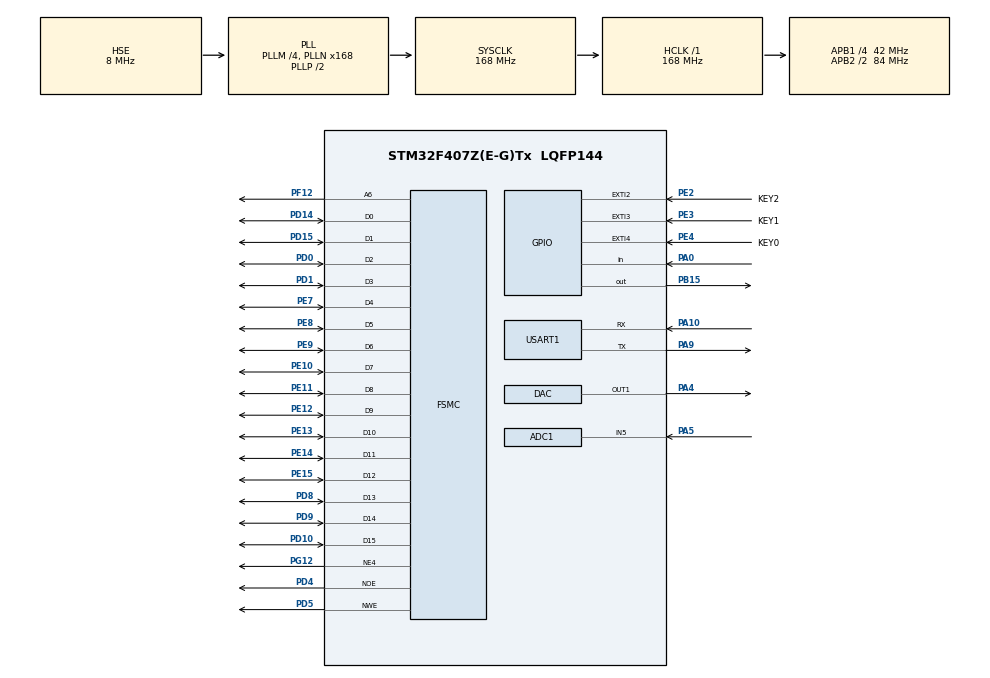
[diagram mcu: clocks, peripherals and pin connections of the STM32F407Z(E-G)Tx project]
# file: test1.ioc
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ADC1.Channel-0\#ChannelRegularConversion=ADC_CHANNEL_5
ADC1.DMAContinuousRequests=ENABLE
ADC1.ExternalTrigConv=ADC_EXTERNALTRIGCONV_T3_TRGO
ADC1.NbrOfConversionFlag=1
ADC1.Rank-0\#ChannelRegularConversion=1
ADC1.SamplingTime-0\#ChannelRegularConversion=ADC_SAMPLETIME_3CYCLES
ADC1.ScanConvMode=ENABLE
ADC1.master=1
DAC.DAC_Trigger=DAC_TRIGGER_T6_TRGO
Dma.ADC1.0.Direction=DMA_PERIPH_TO_MEMORY
Dma.ADC1.0.FIFOMode=DMA_FIFOMODE_DISABLE
Dma.ADC1.0.Instance=DMA2_Stream0
Dma.ADC1.0.MemDataAlignment=DMA_MDATAALIGN_HALFWORD
Dma.ADC1.0.MemInc=DMA_MINC_ENABLE
Dma.ADC1.0.Mode=DMA_CIRCULAR
Dma.ADC1.0.PeriphDataAlignment=DMA_PDATAALIGN_HALFWORD
Dma.ADC1.0.PeriphInc=DMA_PINC_DISABLE
Dma.ADC1.0.Priority=DMA_PRIORITY_LOW
Dma.DAC1.1.Direction=DMA_MEMORY_TO_PERIPH
Dma.DAC1.1.FIFOMode=DMA_FIFOMODE_DISABLE
Dma.DAC1.1.Instance=DMA1_Stream5
Dma.DAC1.1.MemDataAlignment=DMA_MDATAALIGN_HALFWORD
Dma.DAC1.1.MemInc=DMA_MINC_ENABLE
Dma.DAC1.1.Mode=DMA_CIRCULAR
Dma.DAC1.1.PeriphDataAlignment=DMA_PDATAALIGN_HALFWORD
Dma.DAC1.1.PeriphInc=DMA_PINC_DISABLE
Dma.DAC1.1.Priority=DMA_PRIORITY_LOW
Dma.Request0=ADC1
Dma.Request1=DAC1
FSMC.ExtendedAddressSetupTime1=9
FSMC.ExtendedDataSetupTime1=8
FSMC.ExtendedMode1=FSMC_EXTENDED_MODE_ENABLE
Mcu.Family=STM32F4
Mcu.Name=STM32F407Z(E-G)Tx
Mcu.Package=LQFP144
NVIC.DMA1_Stream5_IRQn=true\:0\:0\:false\:false\:true\:false\:true\:true
NVIC.DMA2_Stream0_IRQn=true\:0\:0\:false\:false\:true\:false\:true\:true
NVIC.EXTI2_IRQn=true\:0\:0\:false\:false\:true\:true\:true\:true
NVIC.EXTI3_IRQn=true\:0\:0\:false\:false\:true\:true\:true\:true
NVIC.EXTI4_IRQn=true\:0\:0\:false\:false\:true\:true\:true\:true
NVIC.PriorityGroup=NVIC_PRIORITYGROUP_4
NVIC.TIM6_DAC_IRQn=true\:0\:0\:false\:false\:true\:true\:true\:true
PA0-WKUP.GPIO_PuPd=GPIO_PULLDOWN
PA0-WKUP.Signal=GPIO_Input
PA10.Mode=Asynchronous
PA10.Signal=USART1_RX
PA13.Mode=Serial_Wire
PA13.Signal=SYS_JTMS-SWDIO
PA14.Mode=Serial_Wire
PA14.Signal=SYS_JTCK-SWCLK
PA4.Signal=COMP_DAC1_group
PA5.Signal=ADCx_IN5
PA9.Mode=Asynchronous
PA9.Signal=USART1_TX
PB15.Signal=GPIO_Output
PC14-OSC32_IN.Mode=LSE-External-Oscillator
PC14-OSC32_IN.Signal=RCC_OSC32_IN
PC15-OSC32_OUT.Mode=LSE-External-Oscillator
PC15-OSC32_OUT.Signal=RCC_OSC32_OUT
PD0.Signal=FSMC_D2_DA2
PD1.Signal=FSMC_D3_DA3
PD10.Signal=FSMC_D15_DA15
PD14.Signal=FSMC_D0_DA0
PD15.Signal=FSMC_D1_DA1
PD4.Signal=FSMC_NOE
PD5.Signal=FSMC_NWE
PD8.Signal=FSMC_D13_DA13
PD9.Signal=FSMC_D14_DA14
PE10.Signal=FSMC_D7_DA7
PE11.Signal=FSMC_D8_DA8
PE12.Signal=FSMC_D9_DA9
PE13.Signal=FSMC_D10_DA10
PE14.Signal=FSMC_D11_DA11
PE15.Signal=FSMC_D12_DA12
PE2.GPIO_Label=KEY2
PE2.GPIO_PuPd=GPIO_PULLUP
PE2.Signal=GPXTI2
PE3.GPIO_Label=KEY1
PE3.GPIO_PuPd=GPIO_PULLUP
PE3.Signal=GPXTI3
PE4.GPIO_Label=KEY0
PE4.GPIO_PuPd=GPIO_PULLUP
PE4.Signal=GPXTI4
PE7.Signal=FSMC_D4_DA4
PE8.Signal=FSMC_D5_DA5
PE9.Signal=FSMC_D6_DA6
PF12.Signal=FSMC_A6
PG12.Mode=NorPsramChipSelect4_1
PG12.Signal=FSMC_NE4
PH0-OSC_IN.Mode=HSE-External-Oscillator
PH0-OSC_IN.Signal=RCC_OSC_IN
PH1-OSC_OUT.Mode=HSE-External-Oscillator
PH1-OSC_OUT.Signal=RCC_OSC_OUT
ProjectManager.HeapSize=0x200
ProjectManager.StackSize=0x400
ProjectManager.TargetToolchain=MDK-ARM V5.32
RCC.48MHZClocksFreq_Value=84000000
RCC.AHBFreq_Value=168000000
RCC.APB1CLKDivider=RCC_HCLK_DIV4
RCC.APB1Freq_Value=42000000
RCC.APB1TimFreq_Value=84000000
RCC.APB2CLKDivider=RCC_HCLK_DIV2
RCC.APB2Freq_Value=84000000
RCC.APB2TimFreq_Value=168000000
RCC.CortexFreq_Value=168000000
RCC.HCLKFreq_Value=168000000
RCC.HSE_VALUE=8000000
RCC.HSI_VALUE=16000000
RCC.PLLM=4
RCC.PLLN=168
RCC.PLLSourceVirtual=RCC_PLLSOURCE_HSE
RCC.SYSCLKFreq_VALUE=168000000
RCC.SYSCLKSource=RCC_SYSCLKSOURCE_PLLCLK
RCC.VCOOutputFreq_Value=336000000
SH.ADCx_IN5.0=ADC1_IN5,IN5
SH.COMP_DAC1_group.0=DAC_OUT1,DAC_OUT1
SH.FSMC_A6.0=FSMC_A6,A6_1
SH.FSMC_D0_DA0.0=FSMC_D0,16b-d1
SH.FSMC_D10_DA10.0=FSMC_D10,16b-d1
SH.FSMC_D11_DA11.0=FSMC_D11,16b-d1
SH.FSMC_D12_DA12.0=FSMC_D12,16b-d1
SH.FSMC_D13_DA13.0=FSMC_D13,16b-d1
SH.FSMC_D14_DA14.0=FSMC_D14,16b-d1
SH.FSMC_D15_DA15.0=FSMC_D15,16b-d1
SH.FSMC_D1_DA1.0=FSMC_D1,16b-d1
SH.FSMC_D2_DA2.0=FSMC_D2,16b-d1
SH.FSMC_D3_DA3.0=FSMC_D3,16b-d1
SH.FSMC_D4_DA4.0=FSMC_D4,16b-d1
SH.FSMC_D5_DA5.0=FSMC_D5,16b-d1
SH.FSMC_D6_DA6.0=FSMC_D6,16b-d1
SH.FSMC_D7_DA7.0=FSMC_D7,16b-d1
SH.FSMC_D8_DA8.0=FSMC_D8,16b-d1
SH.FSMC_D9_DA9.0=FSMC_D9,16b-d1
SH.FSMC_NOE.0=FSMC_NOE,Lcd1
SH.FSMC_NWE.0=FSMC_NWE,Lcd1
STMicroelectronics.X-CUBE-ALGOBUILD.1.4.0.LibraryCcDSPOoLibraryJjDSPOoLibrary=true
TIM3.Period=5-1
TIM3.Prescaler=42-1
TIM3.TIM_MasterOutputTrigger=TIM_TRGO_UPDATE
TIM6.AutoReloadPreload=TIM_AUTORELOAD_PRELOAD_ENABLE
TIM6.Period=7
TIM6.Prescaler=16-1
TIM6.TIM_MasterOutputTrigger=TIM_TRGO_UPDATE
TIM8.AutoReloadPreload=TIM_AUTORELOAD_PRELOAD_ENABLE
TIM8.Period=336-1
TIM8.TIM_MasterOutputTrigger=TIM_TRGO_UPDATE
USART1.VirtualMode=VM_ASYNC
VP_STMicroelectronics.X-CUBE-ALGOBUILD_VS_DSPOoLibraryJjLibrary_1.4.0_1.4.0.Mode=DSPOoLibraryJjLibrary
VP_TIM3_VS_ClockSourceINT.Mode=Internal
VP_TIM6_VS_ClockSourceINT.Mode=Enable_Timer
VP_TIM8_VS_ClockSourceINT.Mode=Internal
board=custom

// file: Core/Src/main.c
/* USER CODE BEGIN Header */
/**
  ******************************************************************************
  * @file           : main.c
  * @brief          : Main program body
  ******************************************************************************
  * @attention
  *
  * Copyright (c) 2025 STMicroelectronics.
  * All rights reserved.
  *
  * This software is licensed under terms that can be found in the LICENSE file
  * in the root directory of this software component.
  * If no LICENSE file comes with this software, it is provided AS-IS.
  *
  ******************************************************************************
  */
/* USER CODE END Header */
#include "main.h"
#include "adc.h"
#include "dac.h"
#include "dma.h"
#include "tim.h"
#include "usart.h"
#include "gpio.h"
#include "fsmc.h"

/* USER CODE BEGIN Includes */
#include "arm_math.h"
#include "lcd.h"
#include <math.h>
#include <stdio.h>
#include <string.h>
/* USER CODE END Includes */

/* USER CODE BEGIN PTD */
typedef enum {
  WAVE_SINE,
  WAVE_SQUARE,
  WAVE_TRIANGLE
} WaveType;
/* USER CODE END PTD */

/* USER CODE BEGIN PD */
#define FFT_LENGTH        4096
#define CURRENT_SAMPLING_FREQ 400000
#define WAVE_TABLE_LEN 100
#define DEBOUNCE_TIME_MS 50
#define SCREEN_TOP    146
#define SCREEN_BOTTOM 310
#define SCREEN_CENTER 228
#define MIN_FREQ_HZ 100
#define MAX_FREQ_HZ 10000
#define FREQ_STEP_HZ 100
#define FILTER_ALPHA 0.22566f
/* USER CODE END PD */

/* USER CODE BEGIN PM */
#ifndef M_PI
#define M_PI 3.14159265358979323846f
#endif
/* USER CODE END PM */

/* USER CODE BEGIN PV */
arm_cfft_radix4_instance_f32 scfft;
float FFT_InputBuf[FFT_LENGTH*2];
float FFT_OutputBuf[FFT_LENGTH];
uint16_t ADC_1_Value_DMA[FFT_LENGTH] = {0};
float main_freq;
float main_vpp;
WaveType wave_type;
WaveType current_wave = WAVE_SINE;
uint16_t sin_table[WAVE_TABLE_LEN];
uint16_t square_table[WAVE_TABLE_LEN];
uint16_t triangle_table[WAVE_TABLE_LEN];
volatile uint8_t key0_pressed = 0; // KEY0 (PE4) - Waveform switch
volatile uint8_t key1_pressed = 0; // KEY1 (PE2) - Frequency decrease
volatile uint8_t key3_pressed = 0; // KEY3 (PE3) - Frequency increase
volatile uint32_t last_press_time = 0;
u16 wave_data[210];
uint32_t current_freq_hz = MIN_FREQ_HZ;
volatile uint8_t data_ready = 0;
uint16_t filtered_data[FFT_LENGTH];
/* USER CODE END PV */

void SystemClock_Config(void);
/* USER CODE BEGIN PFP */
void Generate_Sin_Table(void);
void Generate_Square_Table(void);
void Generate_Triangle_Table(void);
void Set_DAC_Output_Frequency(uint32_t target_freq_hz);
void Oscilloscope_Display_Init(void);
void Oscilloscope_ClearWaveform(void);
void Oscilloscope_DrawWaveform(u16 *wave_data);
void Oscilloscope_GenerateSineWave(u16 *wave_data, u16 length, float amplitude, float frequency);
void Oscilloscope_UpdateWaveform(u16 *wave_data);
void Oscilloscope_Test(void);
void Low_Pass_Filter(uint16_t *input, uint16_t *output, uint16_t length, float alpha);
void Convert_ADC_Data_To_Waveform(uint16_t *adc_data, u16 *filtered_data, u16 *wave_data, uint16_t adc_length, uint16_t wave_length);
void CalculateFFT(uint16_t *adc_data, float *fft_input, float *fft_output,
                 arm_cfft_radix4_instance_f32 *fft_instance, uint32_t fft_length,
                 uint32_t sampling_freq, float *freq, float *vpp, WaveType *wave);
/* USER CODE END PFP */

/* USER CODE BEGIN 0 */
void Generate_Sin_Table(void) {
    float vref = 3.3f;
    float counts_per_volt = 4095.0f / vref;
    float peak_counts = 0.512f * counts_per_volt; // Calibrated for 1000 mVpp
    for (int i = 0; i < WAVE_TABLE_LEN; i++) {
        float sin_value = sinf(2.0f * M_PI * i / WAVE_TABLE_LEN);
        float scaled_value = peak_counts * sin_value;
        float dac_value = roundf((counts_per_volt * 1.65f) + scaled_value);
        if (dac_value < 0) dac_value = 0;
        if (dac_value > 4095) dac_value = 4095;
        sin_table[i] = (uint16_t)dac_value;
    }
}

void Generate_Square_Table(void) {
    float vref = 3.3f;
    float counts_per_volt = 4095.0f / vref;
    float peak_counts = 0.512f * counts_per_volt;
    for (int i = 0; i < WAVE_TABLE_LEN; i++) {
        float phase = 2.0f * M_PI * i / WAVE_TABLE_LEN;
        float square_value = (sinf(phase) >= 0) ? 1.0f : -1.0f;
        float scaled_value = peak_counts * square_value;
        float dac_value = roundf((counts_per_volt * 1.65f) + scaled_value);
        if (dac_value < 0) dac_value = 0;
        if (dac_value > 4095) dac_value = 4095;
        square_table[i] = (uint16_t)dac_value;
    }
}

void Generate_Triangle_Table(void) {
    float vref = 3.3f;
    float counts_per_volt = 4095.0f / vref;
    float peak_counts = 0.512f * counts_per_volt;
    for (int i = 0; i < WAVE_TABLE_LEN; i++) {
        float phase = 2.0f * M_PI * i / WAVE_TABLE_LEN;
        float t = phase / (2.0f * M_PI);
        float triangle_value;
        if (t < 0.25f) {
            triangle_value = 4.0f * t;
        } else if (t < 0.75f) {
            triangle_value = 2.0f - 4.0f * t;
        } else {
            triangle_value = -4.0f + 4.0f * t;
        }
        float scaled_value = peak_counts * triangle_value;
        float dac_value = roundf((counts_per_volt * 1.65f) + scaled_value);
        if (dac_value < 0) dac_value = 0;
        if (dac_value > 4095) dac_value = 4095;
        triangle_table[i] = (uint16_t)dac_value;
    }
}

void Set_DAC_Output_Frequency(uint32_t target_freq_hz) {
    if (target_freq_hz < MIN_FREQ_HZ) target_freq_hz = MIN_FREQ_HZ;
    if (target_freq_hz > MAX_FREQ_HZ) target_freq_hz = MAX_FREQ_HZ;

    uint32_t tim6_clk = HAL_RCC_GetPCLK1Freq() * 2;
    float update_rate = (float)target_freq_hz * WAVE_TABLE_LEN;
    uint32_t prescaler = 0;
    uint32_t arr = 0;
    float counter_clk = 0.0f;
    for (prescaler = 0; prescaler < 65536; prescaler++) {
        counter_clk = (float)tim6_clk / (prescaler + 1);
        float arr_float = (counter_clk / update_rate) - 1.0f;
        arr = (uint32_t)(arr_float + 0.5f);
        if (arr >= 10 && arr <= 1000) break;
    }

    __HAL_TIM_SET_PRESCALER(&htim6, prescaler);
    if (arr > 65535) arr = 65535;
    __HAL_TIM_SET_AUTORELOAD(&htim6, arr);
}

void HAL_GPIO_EXTI_Callback(uint16_t GPIO_Pin)
{
    uint32_t current_time = HAL_GetTick();
    if (current_time - last_press_time < DEBOUNCE_TIME_MS) return;

    if (GPIO_Pin == GPIO_PIN_4) { // KEY0 (PE4) - Waveform switch
        key0_pressed = 1;
        last_press_time = current_time;
    }
    else if (GPIO_Pin == GPIO_PIN_2) { // KEY1 (PE2) - Frequency decrease
        key1_pressed = 1;
        last_press_time = current_time;
    }
    else if (GPIO_Pin == GPIO_PIN_3) { // KEY3 (PE3) - Frequency increase
        key3_pressed = 1;
        last_press_time = current_time;
    }
}

void Oscilloscope_Display_Init(void)
{
    LCD_Clear(WHITE);

    POINT_COLOR = BLACK;
    BACK_COLOR = WHITE;

    LCD_DrawRectangle(0, 0, 239, 319);
    LCD_DrawLine(0, 106, 239, 106);

    LCD_ShowString(10, 10, 230, 96, 16, "frequency: ");
    LCD_ShowString(10, 30, 230, 96, 16, "Amplitude: ");
    LCD_ShowString(10, 50, 230, 96, 16, "type: ");
    LCD_ShowString(10, 70, 230, 96, 16, "author: proury.");

    LCD_DrawLine(20, 146, 20, 310);
    LCD_DrawLine(20, 310, 230, 310);

    for (u16 x = 40; x <= 230; x += 20) {
        LCD_DrawLine(x, 146, x, 310);
    }
    for (u16 y = 146; y <= 310; y += 20) {
        LCD_DrawLine(20, y, 230, y);
    }

    LCD_DrawLine(230, 310, 225, 305);
    LCD_DrawLine(230, 310, 225, 315);
    LCD_DrawLine(20, 146, 15, 151);
    LCD_DrawLine(20, 146, 25, 151);
}

void Oscilloscope_ClearWaveform(void)
{
    LCD_Fill(21, 146, 230, 309, WHITE);
}

void Oscilloscope_DrawWaveform(u16 *wave_data)
{
    u16 i;
    POINT_COLOR = BLUE;

    for (i = 0; i < 209; i++) {
        LCD_DrawLine(20 + i, wave_data[i], 20 + i + 1, wave_data[i + 1]);
    }

    POINT_COLOR = BLACK;
}

void Oscilloscope_GenerateSineWave(u16 *wave_data, u16 length, float amplitude, float frequency)
{
    u16 i;
    float phase;
    u16 center_y = 228;

    for (i = 0; i < length; i++) {
        phase = 2.0f * M_PI * frequency * i / length;
        wave_data[i] = (u16)(center_y - amplitude * sinf(phase));
        if (wave_data[i] < SCREEN_TOP) wave_data[i] = SCREEN_TOP;
        if (wave_data[i] > SCREEN_BOTTOM) wave_data[i] = SCREEN_BOTTOM;
    }
}

void Oscilloscope_UpdateWaveform(u16 *wave_data)
{
    Oscilloscope_ClearWaveform();
    Oscilloscope_DrawWaveform(wave_data);
}

void Oscilloscope_Test(void)
{
    u16 wave_data[210];
    Oscilloscope_Display_Init();
    Oscilloscope_GenerateSineWave(wave_data, 210, 50.0f, 2.0f);
    Oscilloscope_UpdateWaveform(wave_data);
}

void Low_Pass_Filter(uint16_t *input, uint16_t *output, uint16_t length, float alpha)
{
    output[0] = input[0];
    for (uint16_t i = 1; i < length; i++) {
        output[i] = (uint16_t)((1.0f - alpha) * output[i-1] + alpha * input[i]);
    }
}

void Convert_ADC_Data_To_Waveform(uint16_t *adc_data, u16 *filtered_data, u16 *wave_data, uint16_t adc_length, uint16_t wave_length)
{
    for (uint16_t i = 0; i < wave_length; i++) {
        uint16_t index = (i * 5) % adc_length;
        int32_t adc_value = adc_data[index];
        wave_data[i] = SCREEN_CENTER - ((adc_value - 2048) * (SCREEN_BOTTOM - SCREEN_TOP) / 2 / 2048);
        if (wave_data[i] < SCREEN_TOP) wave_data[i] = SCREEN_TOP;
        if (wave_data[i] > SCREEN_BOTTOM) wave_data[i] = SCREEN_BOTTOM;
    }
}

void HAL_ADC_ConvCpltCallback(ADC_HandleTypeDef* hadc)
{
    if (hadc->Instance == ADC1) {
        static uint32_t dma_count = 0;
        static uint32_t last_tick = 0;
        dma_count++;
        if (dma_count >= 100) {
            uint32_t tick = HAL_GetTick();
            uint32_t delta = tick - last_tick;
            last_tick = tick;
            dma_count = 0;
        }
        data_ready = 1;
    }
}

void CalculateFFT(uint16_t *adc_data, float *fft_input, float *fft_output,
                 arm_cfft_radix4_instance_f32 *fft_instance, uint32_t fft_length,
                 uint32_t sampling_freq, float *freq, float *vpp, WaveType *wave)
{
    for (uint32_t i = 0; i < fft_length; i++) {
        fft_input[2*i] = (float)adc_data[i];
        fft_input[2*i+1] = 0.0f;
    }

    arm_cfft_radix4_f32(fft_instance, fft_input);
    arm_cmplx_mag_f32(fft_input, fft_output, fft_length);

    float max_value1 = 0.0f;
    uint32_t max_index1 = 0;
    for (uint32_t i = 1; i < fft_length / 2; i++) {
        if (fft_output[i] > max_value1) {
            max_value1 = fft_output[i];
            max_index1 = i;
        }
    }

    *freq = (float)max_index1 * sampling_freq / fft_length;
    *freq = round(*freq / 100.0f) * 100.0f;
    if (*freq < 100.0f) *freq = 100.0f;
    if (*freq > 100000.0f) *freq = 100000.0f;

    uint16_t max_val = adc_data[0];
    uint16_t min_val = adc_data[0];
    for (uint32_t i = 1; i < fft_length; i++) {
        if (adc_data[i] > max_val) max_val = adc_data[i];
        if (adc_data[i] < min_val) min_val = adc_data[i];
    }

    uint16_t peak_to_peak = max_val - min_val;
    *vpp = (float)peak_to_peak * 3.3f / 4095.0f;

    *wave = WAVE_SINE;
    float threshold = max_value1 * 0.03f;
    float odd_harmonic_sum = 0.0f;
    int odd_harmonic_count = 0;

    for (int n = 3; n <= 5; n += 2) {
        uint32_t harmonic_index = n * max_index1;
        if (harmonic_index >= fft_length / 2) break;
        float harmonic_amp = 0.0f;
        for (int offset = -1; offset <= 1; offset++) {
            uint32_t idx = harmonic_index + offset;
            if (idx < fft_length / 2 && fft_output[idx] > harmonic_amp) {
                harmonic_amp = fft_output[idx];
            }
        }
        if (harmonic_amp > threshold) {
            odd_harmonic_count++;
            odd_harmonic_sum += harmonic_amp;
        }
    }

    if (odd_harmonic_count >= 1) {
        if (odd_harmonic_sum / max_value1 > 0.2f) {
            *wave = WAVE_SQUARE; // Strong odd harmonics
        } else {
            *wave = WAVE_TRIANGLE; // Weaker odd harmonics
        }
    }
}
/* USER CODE END 0 */

int main(void)
{
    HAL_Init();
    SystemClock_Config();

    MX_GPIO_Init();
    MX_DMA_Init();
    MX_ADC1_Init();
    MX_TIM3_Init();
    MX_DAC_Init();
    MX_TIM8_Init();
    MX_FSMC_Init();
    MX_USART1_UART_Init();
    MX_TIM6_Init();

    LCD_Init();
    LCD_Clear(GREEN);

    Generate_Sin_Table();
    Generate_Square_Table();
    Generate_Triangle_Table();
    HAL_DAC_Start_DMA(&hdac, DAC_CHANNEL_1, (uint32_t*)sin_table, WAVE_TABLE_LEN, DAC_ALIGN_12B_R);
    Set_DAC_Output_Frequency(current_freq_hz);
    HAL_TIM_Base_Start(&htim6);
    Oscilloscope_Test();
    HAL_Delay(2000);

    HAL_TIM_Base_Start(&htim3);
    HAL_ADC_Start_DMA(&hadc1, (uint32_t *)ADC_1_Value_DMA, FFT_LENGTH);
    arm_cfft_radix4_init_f32(&scfft, FFT_LENGTH, 0, 1);

    while (1)
    {
        if (key0_pressed) {
            uint32_t current_time = HAL_GetTick();
            if (current_time - last_press_time >= DEBOUNCE_TIME_MS) {
                HAL_DAC_Stop_DMA(&hdac, DAC_CHANNEL_1);
                current_wave = (current_wave == WAVE_SINE) ? WAVE_SQUARE :
                               (current_wave == WAVE_SQUARE) ? WAVE_TRIANGLE : WAVE_SINE;
                uint32_t *wave_table = (current_wave == WAVE_SINE) ? (uint32_t*)sin_table :
                                       (current_wave == WAVE_SQUARE) ? (uint32_t*)square_table :
                                       (uint32_t*)triangle_table;
                HAL_DAC_Start_DMA(&hdac, DAC_CHANNEL_1, wave_table, WAVE_TABLE_LEN, DAC_ALIGN_12B_R);
                Set_DAC_Output_Frequency(current_freq_hz);
                key0_pressed = 0;
                last_press_time = current_time;
            }
        }
        if (key1_pressed) {
            uint32_t current_time = HAL_GetTick();
            if (current_time - last_press_time >= DEBOUNCE_TIME_MS) {
                current_freq_hz -= FREQ_STEP_HZ;
                if (current_freq_hz < MIN_FREQ_HZ) {
                    current_freq_hz = MAX_FREQ_HZ;
                }
                Set_DAC_Output_Frequency(current_freq_hz);
                key1_pressed = 0;
                last_press_time = current_time;
            }
        }
        if (key3_pressed) {
            uint32_t current_time = HAL_GetTick();
            if (current_time - last_press_time >= DEBOUNCE_TIME_MS) {
                current_freq_hz += FREQ_STEP_HZ;
                if (current_freq_hz > MAX_FREQ_HZ) {
                    current_freq_hz = MIN_FREQ_HZ;
                }
                Set_DAC_Output_Frequency(current_freq_hz);
                key3_pressed = 0;
                last_press_time = current_time;
            }
        }

        CalculateFFT(ADC_1_Value_DMA, FFT_InputBuf, FFT_OutputBuf, &scfft,
                    FFT_LENGTH, CURRENT_SAMPLING_FREQ, &main_freq, &main_vpp, &wave_type);

        LCD_Fill(100, 10, 180, 26, WHITE);
        uint32_t freq_int = (uint32_t)(main_freq * 10);
        if (freq_int / 10 > 100000) freq_int = 1000000;
        LCD_ShowNum(100, 10, freq_int / 10, 6, 16);
        LCD_ShowString(148, 10, 230, 96, 16, ".");
        LCD_ShowNum(156, 10, freq_int % 10, 1, 16);
        LCD_ShowString(164, 10, 230, 96, 16, " Hz");

        LCD_Fill(100, 30, 180, 46, WHITE);
        uint32_t mvpp = (uint32_t)(round(main_vpp * 1000.0f));
        if (mvpp > 9999) mvpp = 9999;
        LCD_ShowNum(100, 30, mvpp, 4, 16);
        LCD_ShowString(132, 30, 230, 96, 16, " mV");

        LCD_Fill(100, 50, 180, 66, WHITE);
        const char *wave_str = (wave_type == WAVE_SINE) ? "Sine" :
                               (wave_type == WAVE_SQUARE) ? "Square" : "Triangle";
        LCD_ShowString(100, 50, 230, 96, 16, (char *)wave_str);

        if (data_ready) {
            data_ready = 0;
            Convert_ADC_Data_To_Waveform(ADC_1_Value_DMA, filtered_data, wave_data, FFT_LENGTH, 210);
            Oscilloscope_UpdateWaveform(wave_data);
            HAL_Delay(20);
        }
    }
}

void SystemClock_Config(void)
{
    RCC_OscInitTypeDef RCC_OscInitStruct = {0};
    RCC_ClkInitTypeDef RCC_ClkInitStruct = {0};

    __HAL_RCC_PWR_CLK_ENABLE();
    __HAL_PWR_VOLTAGESCALING_CONFIG(PWR_REGULATOR_VOLTAGE_SCALE1);

    RCC_OscInitStruct.OscillatorType = RCC_OSCILLATORTYPE_HSE;
    RCC_OscInitStruct.HSEState = RCC_HSE_ON;
    RCC_OscInitStruct.PLL.PLLState = RCC_PLL_ON;
    RCC_OscInitStruct.PLL.PLLSource = RCC_PLLSOURCE_HSE;
    RCC_OscInitStruct.PLL.PLLM = 4;
    RCC_OscInitStruct.PLL.PLLN = 168;
    RCC_OscInitStruct.PLL.PLLP = RCC_PLLP_DIV2;
    RCC_OscInitStruct.PLL.PLLQ = 4;
    if (HAL_RCC_OscConfig(&RCC_OscInitStruct) != HAL_OK)
    {
        Error_Handler();
    }

    RCC_ClkInitStruct.ClockType = RCC_CLOCKTYPE_HCLK|RCC_CLOCKTYPE_SYSCLK
                                |RCC_CLOCKTYPE_PCLK1|RCC_CLOCKTYPE_PCLK2;
    RCC_ClkInitStruct.SYSCLKSource = RCC_SYSCLKSOURCE_PLLCLK;
    RCC_ClkInitStruct.AHBCLKDivider = RCC_SYSCLK_DIV1;
    RCC_ClkInitStruct.APB1CLKDivider = RCC_HCLK_DIV4;
    RCC_ClkInitStruct.APB2CLKDivider = RCC_HCLK_DIV2;

    if (HAL_RCC_ClockConfig(&RCC_ClkInitStruct, FLASH_LATENCY_5) != HAL_OK)
    {
        Error_Handler();
    }
}

void Error_Handler(void)
{
    __disable_irq();
    while (1)
    {
    }
}
